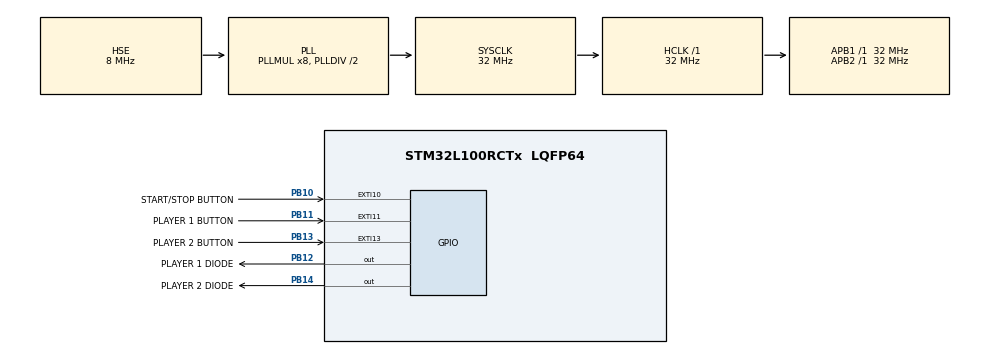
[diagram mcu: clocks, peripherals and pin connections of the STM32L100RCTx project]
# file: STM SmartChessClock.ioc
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Mcu.Family=STM32L1
Mcu.Name=STM32L100RCTx
Mcu.Package=LQFP64
NVIC.EXTI15_10_IRQn=true\:0\:0\:false\:false\:true\:true\:true
NVIC.PriorityGroup=NVIC_PRIORITYGROUP_4
PB10.GPIO_Label=START/STOP BUTTON
PB10.GPIO_ModeDefaultEXTI=GPIO_MODE_IT_RISING
PB10.GPIO_PuPd=GPIO_PULLUP
PB10.Signal=GPXTI10
PB11.GPIO_Label=PLAYER 1 BUTTON
PB11.GPIO_ModeDefaultEXTI=GPIO_MODE_IT_RISING
PB11.GPIO_PuPd=GPIO_PULLUP
PB11.Signal=GPXTI11
PB12.GPIO_Label=PLAYER 1 DIODE
PB12.GPIO_PuPd=GPIO_PULLUP
PB12.Signal=GPIO_Output
PB13.GPIO_Label=PLAYER 2 BUTTON
PB13.GPIO_ModeDefaultEXTI=GPIO_MODE_IT_RISING
PB13.GPIO_PuPd=GPIO_PULLUP
PB13.Signal=GPXTI13
PB14.GPIO_Label=PLAYER 2 DIODE
PB14.GPIO_PuPd=GPIO_PULLUP
PB14.Signal=GPIO_Output
PH0-OSC_IN.Mode=HSE-External-Oscillator
PH0-OSC_IN.Signal=RCC_OSC_IN
PH1-OSC_OUT.Mode=HSE-External-Oscillator
PH1-OSC_OUT.Signal=RCC_OSC_OUT
ProjectManager.HeapSize=0x200
ProjectManager.StackSize=0x400
ProjectManager.TargetToolchain=SW4STM32
RCC.48MHZClocksFreq_Value=32000000
RCC.AHBFreq_Value=32000000
RCC.APB1Freq_Value=32000000
RCC.APB1TimFreq_Value=32000000
RCC.APB2Freq_Value=32000000
RCC.APB2TimFreq_Value=32000000
RCC.HCLKFreq_Value=32000000
RCC.HSE_VALUE=8000000
RCC.HSI_VALUE=16000000
RCC.LSE_VALUE=32768
RCC.MSI_VALUE=2097000
RCC.PLLMUL=RCC_PLL_MUL8
RCC.PLLSourceVirtual=RCC_PLLSOURCE_HSE
RCC.SYSCLKFreq_VALUE=32000000
RCC.SYSCLKSource=RCC_SYSCLKSOURCE_PLLCLK
RCC.VCOOutputFreq_Value=64000000
board=custom

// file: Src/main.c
/* USER CODE BEGIN Header */
/**
  ******************************************************************************
  * @file           : main.c
  * @brief          : Main program body
  ******************************************************************************
  * @attention
  *
  * <h2><center>&copy; Copyright (c) 2019 STMicroelectronics.
  * All rights reserved.</center></h2>
  *
  * This software component is licensed by ST under BSD 3-Clause license,
  * the "License"; You may not use this file except in compliance with the
  * License. You may obtain a copy of the License at:
  *                        opensource.org/licenses/BSD-3-Clause
  *
  ******************************************************************************
  */
/* USER CODE END Header */

#include "main.h"

/* USER CODE BEGIN PD */

//Przyciski graczy
#define UI_PLAYER1_DIODE_ON		HAL_GPIO_WritePin(GPIOB, GPIO_PIN_12, GPIO_PIN_SET)
#define UI_PLAYER1_DIODE_OFF	HAL_GPIO_WritePin(GPIOB, GPIO_PIN_12, GPIO_PIN_RESET)

#define UI_PLAYER2_DIODE_ON		HAL_GPIO_WritePin(GPIOB, GPIO_PIN_14, GPIO_PIN_SET)
#define UI_PLAYER2_DIODE_OFF	HAL_GPIO_WritePin(GPIOB, GPIO_PIN_14, GPIO_PIN_RESET)

/* USER CODE END PD */

/* USER CODE BEGIN PV */

volatile int _currentPlayer = 1;	//Zmienna oznaczaj¹ca któremu z graczy up³ywa czas

/* USER CODE END PV */

void SystemClock_Config(void);
static void MX_GPIO_Init(void);
/* USER CODE BEGIN PFP */
void HAL_GPIO_EXTI_Callback(uint16_t GPIO_Pin) //Przerwania GPIO
{
   	if(HAL_GPIO_ReadPin(GPIOB, GPIO_PIN_10) == GPIO_PIN_SET)	//Wciœniêcie przycisku START
   	{

   	}
   	if(HAL_GPIO_ReadPin(GPIOB, GPIO_PIN_11) == GPIO_PIN_SET)	//Wciœniêcie przycisku PLAYER1
   	{
   		if(_currentPlayer == 1)
   		{
   			UI_PLAYER1_DIODE_OFF;
   			UI_PLAYER2_DIODE_ON;
   			_currentPlayer = 2;
   		}
   	}
   	if(HAL_GPIO_ReadPin(GPIOB, GPIO_PIN_13) == GPIO_PIN_SET)	//Wciœniêcie przycisku PLAYER2
   	{
   		if(_currentPlayer == 2)
   		{
   		   	UI_PLAYER1_DIODE_ON;
   		   	UI_PLAYER2_DIODE_OFF;
   		   	_currentPlayer = 1;
   		}
   	}
}

/* USER CODE END PFP */

int main(void)
{

  /* MCU Configuration--------------------------------------------------------*/

  /* Reset of all peripherals, Initializes the Flash interface and the Systick. */
  HAL_Init();

  /* Configure the system clock */
  SystemClock_Config();

  /* Initialize all configured peripherals */
  MX_GPIO_Init();
  /* USER CODE BEGIN 2 */

  UI_PLAYER1_DIODE_ON;	//Zapalenie diody gracza 1

  /* USER CODE END 2 */

  /* Infinite loop */
  while (1)
  {

  }
}

void SystemClock_Config(void)
{
  RCC_OscInitTypeDef RCC_OscInitStruct = {0};
  RCC_ClkInitTypeDef RCC_ClkInitStruct = {0};

  /** Configure the main internal regulator output voltage
  */
  __HAL_PWR_VOLTAGESCALING_CONFIG(PWR_REGULATOR_VOLTAGE_SCALE1);
  /** Initializes the CPU, AHB and APB busses clocks
  */
  RCC_OscInitStruct.OscillatorType = RCC_OSCILLATORTYPE_HSE;
  RCC_OscInitStruct.HSEState = RCC_HSE_ON;
  RCC_OscInitStruct.PLL.PLLState = RCC_PLL_ON;
  RCC_OscInitStruct.PLL.PLLSource = RCC_PLLSOURCE_HSE;
  RCC_OscInitStruct.PLL.PLLMUL = RCC_PLL_MUL8;
  RCC_OscInitStruct.PLL.PLLDIV = RCC_PLL_DIV2;
  if (HAL_RCC_OscConfig(&RCC_OscInitStruct) != HAL_OK)
  {
    Error_Handler();
  }
  /** Initializes the CPU, AHB and APB busses clocks
  */
  RCC_ClkInitStruct.ClockType = RCC_CLOCKTYPE_HCLK|RCC_CLOCKTYPE_SYSCLK
                              |RCC_CLOCKTYPE_PCLK1|RCC_CLOCKTYPE_PCLK2;
  RCC_ClkInitStruct.SYSCLKSource = RCC_SYSCLKSOURCE_PLLCLK;
  RCC_ClkInitStruct.AHBCLKDivider = RCC_SYSCLK_DIV1;
  RCC_ClkInitStruct.APB1CLKDivider = RCC_HCLK_DIV1;
  RCC_ClkInitStruct.APB2CLKDivider = RCC_HCLK_DIV1;

  if (HAL_RCC_ClockConfig(&RCC_ClkInitStruct, FLASH_LATENCY_1) != HAL_OK)
  {
    Error_Handler();
  }
}

static void MX_GPIO_Init(void)
{
  GPIO_InitTypeDef GPIO_InitStruct = {0};

  /* GPIO Ports Clock Enable */
  __HAL_RCC_GPIOH_CLK_ENABLE();
  __HAL_RCC_GPIOB_CLK_ENABLE();

  /*Configure GPIO pin Output Level */
  HAL_GPIO_WritePin(GPIOB, PLAYER_1_DIODE_Pin|PLAYER_2_DIODE_Pin, GPIO_PIN_RESET);

  /*Configure GPIO pins : START_STOP_BUTTON_Pin PLAYER_1_BUTTON_Pin PLAYER_2_BUTTON_Pin */
  GPIO_InitStruct.Pin = START_STOP_BUTTON_Pin|PLAYER_1_BUTTON_Pin|PLAYER_2_BUTTON_Pin;
  GPIO_InitStruct.Mode = GPIO_MODE_IT_RISING;
  GPIO_InitStruct.Pull = GPIO_PULLUP;
  HAL_GPIO_Init(GPIOB, &GPIO_InitStruct);

  /*Configure GPIO pins : PLAYER_1_DIODE_Pin PLAYER_2_DIODE_Pin */
  GPIO_InitStruct.Pin = PLAYER_1_DIODE_Pin|PLAYER_2_DIODE_Pin;
  GPIO_InitStruct.Mode = GPIO_MODE_OUTPUT_PP;
  GPIO_InitStruct.Pull = GPIO_PULLUP;
  GPIO_InitStruct.Speed = GPIO_SPEED_FREQ_LOW;
  HAL_GPIO_Init(GPIOB, &GPIO_InitStruct);

  /* EXTI interrupt init*/
  HAL_NVIC_SetPriority(EXTI15_10_IRQn, 0, 0);
  HAL_NVIC_EnableIRQ(EXTI15_10_IRQn);

}

void Error_Handler(void)
{
}

/************************ (C) COPYRIGHT STMicroelectronics *****END OF FILE****/
